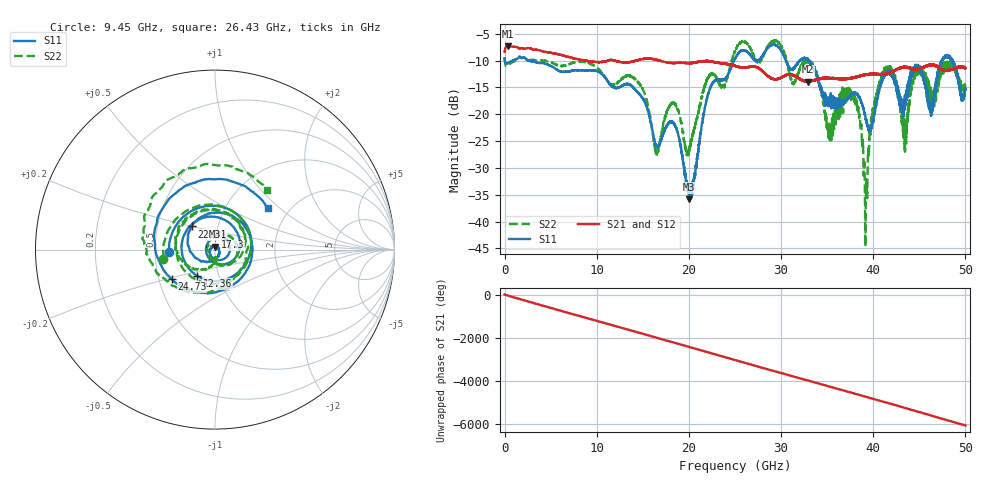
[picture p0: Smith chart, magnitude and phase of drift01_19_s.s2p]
!Created with skrf (http://scikit-rf.org).
# Hz S RI R 50.0
!freq ReS11 ImS11 ReS21 ImS21 ReS12 ImS12 ReS22 ImS22
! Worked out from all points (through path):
!   10001 points, 300 kHz to 50 GHz, reference 50 ohm
!   highest |S21| = -7.33 dB at 330.3 MHz (marker M1); lowest = -14.0 dB at 32.9 GHz (marker M2)
!   group delay of S21, straight-line fit = 335 ps
!   lowest |S11| = -35.8 dB at 20.01 GHz (marker M3), VSWR 1.03, Z = 49.9 + j1.61 ohm
!   |S11| at or under -10 dB: 2.566 GHz to 24.9 GHz (22.33 GHz wide, 163 % of centre); 30.51 GHz to 32.02 GHz (1.503 GHz wide, 4.81 % of centre); 33.04 GHz to 47.44 GHz (14.4 GHz wide, 35.8 % of centre) (the widest 3 of 23)
!   |S22| runs from -44.6 to -6.3 dB; largest |S21 - S12| = 0.0082
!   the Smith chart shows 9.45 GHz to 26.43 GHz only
!   S11 on the Smith chart (normalised r, x): 9.45 GHz: 0.59, -0.02; 12.36 GHz: 0.79, -0.24; 17.3 GHz: 0.99, +0.14; 22.41 GHz: 0.75, +0.20; 24.73 GHz: 0.58, -0.21; 26.43 GHz: 1.56, +0.84
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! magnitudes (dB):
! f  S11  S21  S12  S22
! 300 kHz  -9.6  -8.4  -8.5  -9.5
! 330.3 MHz  -10.5  -7.3  -7.3  -10.9
! 8.335 GHz  -11.8  -9.8  -9.8  -10.2
! 9.45 GHz  -11.8  -10.2  -10.2  -10.7
! 12.36 GHz  -15.0  -10.2  -10.2  -13.9
! 16.67 GHz  -26.0  -10.0  -9.9  -27.0
! 17.3 GHz  -23.3  -10.2  -10.2  -21.5
! 20.01 GHz  -35.8  -10.5  -10.5  -26.4
! 22.41 GHz  -14.7  -10.2  -10.2  -12.5
! 24.73 GHz  -10.7  -10.9  -10.9  -9.6
! 25 GHz  -9.6  -11.0  -11.0  -8.4
! 26.43 GHz  -8.5  -11.2  -11.2  -7.1
! 32.9 GHz  -9.9  -14.0  -13.9  -10.0
! 33.34 GHz  -10.7  -13.8  -13.8  -10.6
! 35.23 GHz  -17.2  -13.2  -13.3  -22.4
! 37.97 GHz  -16.1  -13.2  -13.1  -17.2
! 39.17 GHz  -20.7  -12.6  -12.7  -40.1
! 40.14 GHz  -20.0  -12.5  -12.5  -17.7
! 41.67 GHz  -12.1  -12.3  -12.4  -11.8
! 43.38 GHz  -17.3  -11.3  -11.2  -21.9
! 44.88 GHz  -11.1  -11.6  -11.6  -11.8
! 50 GHz  -15.4  -11.4  -11.4  -15.0
